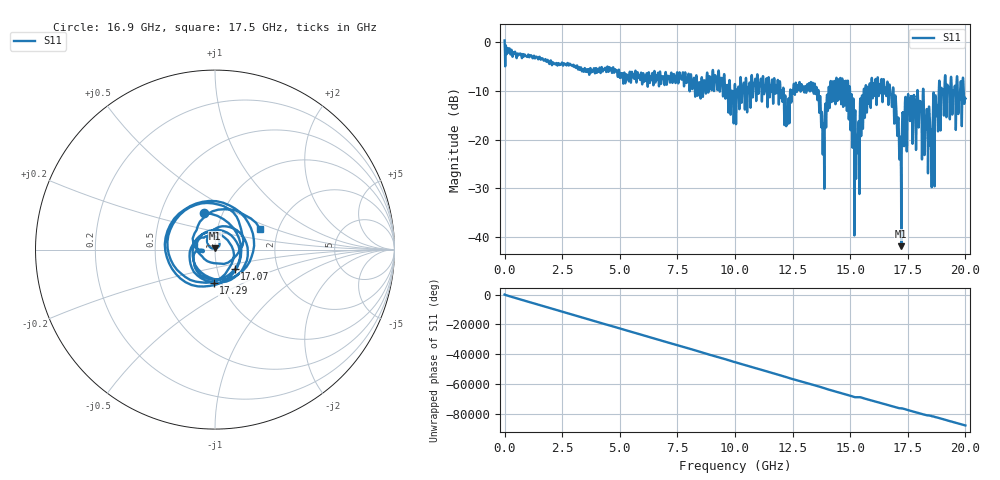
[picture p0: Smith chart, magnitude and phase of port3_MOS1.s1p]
! MS46122B
! 2250307/22442219
! 7/24/2025 7:38:47 AM
! C:\USERS\SPARKY\DOCUMENTS\VNA_DATA\JULY24_2025\3K\PORT3_MOS1.S1P
! CHANNEL.1
! TR.MEASUREMENT
! RAW.DATA
# GHZ S RI R 50.0
! FREQ.GHZ  S11RE  S11IM
!; PortSelection: Port_1
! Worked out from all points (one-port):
!   10001 points, 1 MHz to 20 GHz, reference 50 ohm
!   lowest |S11| = -41.9 dB at 17.22 GHz (marker M1), VSWR 1.02, Z = 49.8 + j0.779 ohm
!   |S11| at or under -10 dB: 14.99 GHz to 15.59 GHz (595.2 MHz wide, 3.89 % of centre); 16.88 GHz to 17.91 GHz (1.036 GHz wide, 5.96 % of centre); 18.18 GHz to 18.85 GHz (668.4 MHz wide, 3.61 % of centre) (the widest 3 of 89)
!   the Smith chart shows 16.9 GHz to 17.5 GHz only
!   S11 on the Smith chart (normalised r, x): 16.9 GHz: 0.82, +0.35; 17.07 GHz: 1.21, -0.27; 17.29 GHz: 0.92, -0.35; 17.5 GHz: 1.60, +0.41
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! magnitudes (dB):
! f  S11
! 1 MHz  0.4
! 2.501 GHz  -4.2
! 5.001 GHz  -7.2
! 7.501 GHz  -6.2
! 9.217 GHz  -8.6
! 10 GHz  -8.6
! 11.78 GHz  -8.8
! 12.28 GHz  -16.8
! 12.5 GHz  -10.3
! 13.46 GHz  -8.5
! 13.82 GHz  -21.8
! 14.23 GHz  -8.0
! 15 GHz  -11.5
! 15.27 GHz  -22.7
! 15.52 GHz  -11.2
! 16.01 GHz  -8.5
! 16.9 GHz  -13.4
! 17.07 GHz  -16.2
! 17.13 GHz  -24.1
! 17.22 GHz  -41.9
! 17.29 GHz  -14.7
! 17.34 GHz  -21.2
! 17.5 GHz  -11.5
! 17.5 GHz  -11.2
! 17.99 GHz  -13.7
! 18.47 GHz  -17.2
! 19.05 GHz  -11.4
! 20 GHz  -11.6
